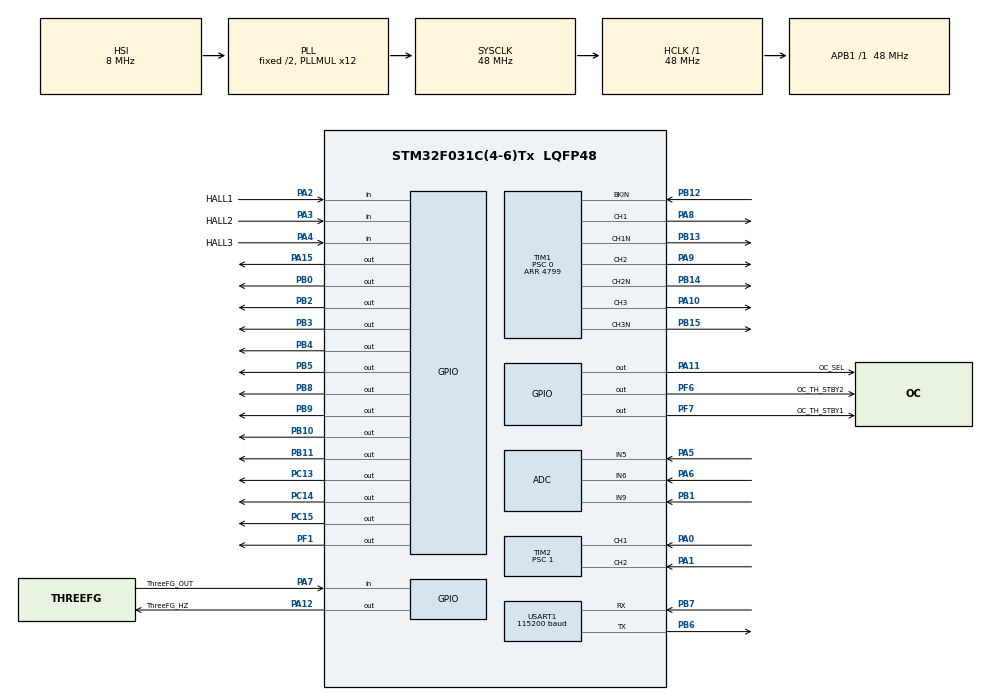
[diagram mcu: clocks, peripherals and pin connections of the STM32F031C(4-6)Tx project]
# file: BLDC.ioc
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ADC.ContinuousConvMode=ENABLE
ADC.DMAContinuousRequests=DISABLE
ADC.DiscontinuousConvMode=DISABLE
ADC.ExternalTrigConv=ADC_EXTERNALTRIGCONV_T1_TRGO
ADC.ExternalTrigConvEdge=ADC_EXTERNALTRIGCONVEDGE_FALLING
ADC.SamplingTime=ADC_SAMPLETIME_41CYCLES_5
Dma.ADC.1.Direction=DMA_PERIPH_TO_MEMORY
Dma.ADC.1.Instance=DMA1_Channel1
Dma.ADC.1.MemDataAlignment=DMA_MDATAALIGN_HALFWORD
Dma.ADC.1.MemInc=DMA_MINC_ENABLE
Dma.ADC.1.Mode=DMA_CIRCULAR
Dma.ADC.1.PeriphDataAlignment=DMA_PDATAALIGN_HALFWORD
Dma.ADC.1.PeriphInc=DMA_PINC_DISABLE
Dma.ADC.1.Priority=DMA_PRIORITY_LOW
Dma.Request0=USART1_TX
Dma.Request1=ADC
Dma.USART1_TX.0.Direction=DMA_MEMORY_TO_PERIPH
Dma.USART1_TX.0.Instance=DMA1_Channel2
Dma.USART1_TX.0.MemDataAlignment=DMA_MDATAALIGN_BYTE
Dma.USART1_TX.0.MemInc=DMA_MINC_ENABLE
Dma.USART1_TX.0.Mode=DMA_NORMAL
Dma.USART1_TX.0.PeriphDataAlignment=DMA_PDATAALIGN_BYTE
Dma.USART1_TX.0.PeriphInc=DMA_PINC_DISABLE
Dma.USART1_TX.0.Priority=DMA_PRIORITY_MEDIUM
Mcu.Family=STM32F0
Mcu.Name=STM32F031C(4-6)Tx
Mcu.Package=LQFP48
NVIC.DMA1_Channel1_IRQn=true\:0\:0\:false\:false\:true\:false\:true
NVIC.DMA1_Channel2_3_IRQn=true\:0\:0\:false\:false\:true\:false\:true
NVIC.TIM14_IRQn=true\:0\:0\:false\:false\:true\:true\:true
NVIC.TIM16_IRQn=true\:0\:0\:false\:false\:true\:true\:true
NVIC.TIM1_BRK_UP_TRG_COM_IRQn=true\:0\:0\:false\:false\:true\:true\:true
NVIC.TIM1_CC_IRQn=true\:0\:0\:false\:false\:true\:true\:true
NVIC.USART1_IRQn=true\:0\:0\:false\:false\:true\:true\:true
PA0.Signal=S_TIM2_CH1_ETR
PA1.Signal=S_TIM2_CH2
PA10.Signal=S_TIM1_CH3
PA11.GPIO_Label=OC_SEL
PA11.Signal=GPIO_Output
PA12.GPIO_Label=ThreeFG_HZ
PA12.Signal=GPIO_Output
PA13.Mode=Serial_Wire
PA13.Signal=SYS_SWDIO
PA14.Mode=Serial_Wire
PA14.Signal=SYS_SWCLK
PA15.Signal=GPIO_Output
PA2.GPIO_Label=HALL1
PA2.Signal=GPIO_Input
PA3.GPIO_Label=HALL2
PA3.Signal=GPIO_Input
PA4.GPIO_Label=HALL3
PA4.Signal=GPIO_Input
PA5.Mode=IN5
PA5.Signal=ADC_IN5
PA6.Mode=IN6
PA6.Signal=ADC_IN6
PA7.GPIO_Label=ThreeFG_OUT
PA7.Signal=GPIO_Input
PA8.Signal=S_TIM1_CH1
PA9.Signal=S_TIM1_CH2
PB0.Signal=GPIO_Output
PB1.Mode=IN9
PB1.Signal=ADC_IN9
PB10.Signal=GPIO_Output
PB11.Signal=GPIO_Output
PB12.Mode=Activate-Break-Input
PB12.Signal=TIM1_BKIN
PB13.Mode=PWM Generation1 CH1 CH1N
PB13.Signal=TIM1_CH1N
PB14.Mode=PWM Generation2 CH2 CH2N
PB14.Signal=TIM1_CH2N
PB15.Mode=PWM Generation3 CH3 CH3N
PB15.Signal=TIM1_CH3N
PB2.Signal=GPIO_Output
PB3.Signal=GPIO_Output
PB4.Signal=GPIO_Output
PB5.Signal=GPIO_Output
PB6.Mode=Asynchronous
PB6.Signal=USART1_TX
PB7.Mode=Asynchronous
PB7.Signal=USART1_RX
PB8.Signal=GPIO_Output
PB9.Signal=GPIO_Output
PC13.Signal=GPIO_Output
PC14-OSC32_IN.Signal=GPIO_Output
PC15-OSC32_OUT.Signal=GPIO_Output
PF0-OSC_IN.Mode=HSE-External-Clock-Source
PF0-OSC_IN.Signal=RCC_OSC_IN
PF1-OSC_OUT.Signal=GPIO_Output
PF6.GPIO_Label=OC_TH_STBY2
PF6.Signal=GPIO_Output
PF7.GPIO_Label=OC_TH_STBY1
PF7.Signal=GPIO_Output
ProjectManager.HeapSize=0x200
ProjectManager.StackSize=0x400
ProjectManager.TargetToolchain=STM32CubeIDE
RCC.AHBFreq_Value=48000000
RCC.APB1Freq_Value=48000000
RCC.APB1TimFreq_Value=48000000
RCC.HCLKFreq_Value=48000000
RCC.PLLMUL=RCC_PLL_MUL12
RCC.SYSCLKFreq_VALUE=48000000
RCC.SYSCLKSource=RCC_SYSCLKSOURCE_PLLCLK
SH.S_TIM1_CH1.0=TIM1_CH1,PWM Generation1 CH1 CH1N
SH.S_TIM1_CH2.0=TIM1_CH2,PWM Generation2 CH2 CH2N
SH.S_TIM1_CH3.0=TIM1_CH3,PWM Generation3 CH3 CH3N
SH.S_TIM2_CH1_ETR.0=TIM2_CH1,Encoder_Interface
SH.S_TIM2_CH2.0=TIM2_CH2,Encoder_Interface
TIM1.AutoReloadPreload=TIM_AUTORELOAD_PRELOAD_ENABLE
TIM1.BreakState=TIM_BREAK_DISABLE
TIM1.Channel-PWM\ Generation1\ CH1\ CH1N=TIM_CHANNEL_1
TIM1.Channel-PWM\ Generation2\ CH2\ CH2N=TIM_CHANNEL_2
TIM1.Channel-PWM\ Generation3\ CH3\ CH3N=TIM_CHANNEL_3
TIM1.CounterMode=TIM_COUNTERMODE_CENTERALIGNED1
TIM1.DeadTime=100
TIM1.OCMode_PWM-PWM\ Generation1\ CH1\ CH1N=TIM_OCMODE_PWM2
TIM1.OCMode_PWM-PWM\ Generation2\ CH2\ CH2N=TIM_OCMODE_PWM2
TIM1.OCMode_PWM-PWM\ Generation3\ CH3\ CH3N=TIM_OCMODE_PWM2
TIM1.Period=4799
TIM1.Prescaler=0
TIM1.TIM_MasterOutputTrigger=TIM_TRGO_UPDATE
TIM1.TIM_MasterSlaveMode=TIM_MASTERSLAVEMODE_DISABLE
TIM14.Period=4799
TIM14.Prescaler=9
TIM16.Period=47999
TIM16.Prescaler=9
TIM2.Period=65535
TIM2.Prescaler=1
USART1.BaudRate=115200
USART1.VirtualMode-Asynchronous=VM_ASYNC
VP_TIM14_VS_ClockSourceINT.Mode=Enable_Timer
VP_TIM16_VS_ClockSourceINT.Mode=Enable_Timer
VP_TIM1_VS_ClockSourceINT.Mode=Internal
board=custom

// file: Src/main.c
/* USER CODE BEGIN Header */
/**
  ******************************************************************************
  * @file           : main.c
  * @brief          : Main program body
  ******************************************************************************
  * @attention
  *
  * <h2><center>&copy; Copyright (c) 2019 STMicroelectronics.
  * All rights reserved.</center></h2>
  *
  * This software component is licensed by ST under BSD 3-Clause license,
  * the "License"; You may not use this file except in compliance with the
  * License. You may obtain a copy of the License at:
  *                        opensource.org/licenses/BSD-3-Clause
  *
  ******************************************************************************
  */
/* USER CODE END Header */

#include "main.h"
#include "adc.h"
#include "dma.h"
#include "tim.h"
#include "usart.h"
#include "gpio.h"

/* USER CODE BEGIN Includes */
#include "my_val.h"
/* USER CODE END Includes */

/* USER CODE BEGIN PTD */
ADC_ChannelConfTypeDef adc_sConfig;

/* USER CODE END PTD */

void SystemClock_Config(void);

/* USER CODE BEGIN 0 */

#define init_v (0)
#define init_f (1)
#define init_dir (1)

int conf_dir(int _dir,int set){
	static int dir=1;
	if(set==1)dir=_dir;

	return dir;
}

int conf_v(int _v,int set){
	static int v=init_v;
	if(set==1)v=_v;

	return v;
}
int conf_f(int _f,int set){
	static int f=init_f;
	if(set==1)f=_f;

	return f;
}

char UART1_Data;

void HAL_UART_RxCpltCallback(UART_HandleTypeDef *UartHandle)
{
	static int v=init_v;
	static int f=init_f;
	static int dir=init_dir;
     if(UartHandle->Instance==USART1){
          HAL_UART_Receive_IT(&huart1, (uint8_t*) &UART1_Data, 1);
          switch(UART1_Data){
          case 'e':
        	  if(f<50)f+=1;
        	  conf_f(f,1);
        	  break;
          case 'c':
        	  if(f>-50)f-=1;
        	  else v=0;
        	  conf_f(f,1);
        	  break;
          case 'd':
        	  f=init_f;
        	  conf_f(f,1);
        	  break;
          case 'q':
        	  if(v<4000)v+=2;
        	  conf_v(v,1);
        	  break;
          case 'z':
        	  if(v>-4000)v-=2;
        	  else v=0;
        	  conf_v(v,1);
        	  break;
          case 'w':
        	  if(v<4000)v+=10;
        	  conf_v(v,1);
        	  break;
          case 'x':
        	  if(v>-4000)v-=10;
        	  else v=0;
        	  conf_v(v,1);
        	  break;
          case 'a':
        	  v=0;
        	  conf_v(v,1);
        	  break;
          case 'r':
        	  dir=1;
        	  conf_dir(dir,1);
        	  break;
          case 'v':
        	  dir=-1;
        	  conf_dir(dir,1);
        	  break;
          }
     }
}

//HAL_ADC_ConvHalfCpltCallback(ADC_HandleTypeDef* hadc){
//}

void pwm_setvalue(uint16_t value,uint8_t ch)//0<value<4799
{
    TIM_OC_InitTypeDef sConfigOC;

    sConfigOC.OCMode = TIM_OCMODE_PWM1;
    sConfigOC.Pulse = value;
    sConfigOC.OCPolarity = TIM_OCPOLARITY_HIGH;
    sConfigOC.OCNPolarity = TIM_OCNPOLARITY_HIGH;
    sConfigOC.OCFastMode = TIM_OCFAST_DISABLE;
    sConfigOC.OCIdleState = TIM_OCIDLESTATE_RESET;
    sConfigOC.OCNIdleState = TIM_OCNIDLESTATE_RESET;

    switch(ch){
    case 1:
    	HAL_TIM_PWM_ConfigChannel(&htim1, &sConfigOC, TIM_CHANNEL_1);
    	HAL_TIM_PWM_Start(&htim1, TIM_CHANNEL_1);
    	HAL_TIMEx_PWMN_Start(&htim1, TIM_CHANNEL_1);

    	break;
    case 2:
    	HAL_TIM_PWM_ConfigChannel(&htim1, &sConfigOC, TIM_CHANNEL_2);
    	HAL_TIM_PWM_Start(&htim1, TIM_CHANNEL_2);
    	HAL_TIMEx_PWMN_Start(&htim1, TIM_CHANNEL_2);
    	break;
    case 3:
    	HAL_TIM_PWM_ConfigChannel(&htim1, &sConfigOC, TIM_CHANNEL_3);
    	HAL_TIM_PWM_Start(&htim1, TIM_CHANNEL_3);
    	HAL_TIMEx_PWMN_Start(&htim1, TIM_CHANNEL_3);
    	break;
    default:
    	break;
    }
}

/* USER CODE END 0 */

int main(void)
{

  /* MCU Configuration--------------------------------------------------------*/

  /* Reset of all peripherals, Initializes the Flash interface and the Systick. */
  HAL_Init();

  /* Configure the system clock */
  SystemClock_Config();

  /* Initialize all configured peripherals */
  MX_GPIO_Init();
  MX_DMA_Init();
  MX_ADC_Init();
  MX_TIM1_Init();
  MX_TIM2_Init();
  MX_USART1_UART_Init();
  MX_TIM14_Init();
  MX_TIM16_Init();
  /* USER CODE BEGIN 2 */

  //  HAL_TIM_PWM_ConfigChannel(&htim1, &sConfigOC, TIM_CHANNEL_1);
    HAL_TIM_PWM_Start(&htim1, TIM_CHANNEL_1);
    HAL_TIMEx_PWMN_Start(&htim1, TIM_CHANNEL_1);

  //  HAL_TIM_PWM_ConfigChannel(&htim1, &sConfigOC, TIM_CHANNEL_2);
    HAL_TIM_PWM_Start(&htim1, TIM_CHANNEL_2);
    HAL_TIMEx_PWMN_Start(&htim1, TIM_CHANNEL_2);

  //  HAL_TIM_PWM_ConfigChannel(&htim1, &sConfigOC, TIM_CHANNEL_3);
    HAL_TIM_PWM_Start(&htim1, TIM_CHANNEL_3);
    HAL_TIMEx_PWMN_Start(&htim1, TIM_CHANNEL_3);

    HAL_TIM_Encoder_Start(&htim2,TIM_CHANNEL_ALL);

	HAL_TIM_Base_Start_IT(&htim1);
	HAL_TIM_Base_Start_IT(&htim14);
	HAL_TIM_Base_Start_IT(&htim16);

    HAL_UART_Receive_IT(&huart1, (uint8_t*) &UART1_Data, 1);

    HAL_ADC_Init(&hadc);
    HAL_ADCEx_Calibration_Start(&hadc);
    HAL_ADC_Start_DMA(&hadc,(uint32_t *)aADCxConvertedData,3);

  int neko=0;
  //OC protection selection
  HAL_GPIO_WritePin(OC_SEL_GPIO_Port, OC_SEL_Pin, GPIO_PIN_SET);
  //Enable OC th 250 mV
  HAL_GPIO_WritePin(OC_TH_STBY1_GPIO_Port, OC_TH_STBY1_Pin, GPIO_PIN_SET);
  HAL_GPIO_WritePin(OC_TH_STBY2_GPIO_Port, OC_TH_STBY2_Pin, GPIO_PIN_SET);
  /* USER CODE END 2 */

  /* Infinite loop */
  while (1)
  {

  }
}

void SystemClock_Config(void)
{
  RCC_OscInitTypeDef RCC_OscInitStruct = {0};
  RCC_ClkInitTypeDef RCC_ClkInitStruct = {0};
  RCC_PeriphCLKInitTypeDef PeriphClkInit = {0};

  /** Initializes the CPU, AHB and APB busses clocks
  */
  RCC_OscInitStruct.OscillatorType = RCC_OSCILLATORTYPE_HSI|RCC_OSCILLATORTYPE_HSI14;
  RCC_OscInitStruct.HSIState = RCC_HSI_ON;
  RCC_OscInitStruct.HSI14State = RCC_HSI14_ON;
  RCC_OscInitStruct.HSICalibrationValue = RCC_HSICALIBRATION_DEFAULT;
  RCC_OscInitStruct.HSI14CalibrationValue = 16;
  RCC_OscInitStruct.PLL.PLLState = RCC_PLL_ON;
  RCC_OscInitStruct.PLL.PLLSource = RCC_PLLSOURCE_HSI;
  RCC_OscInitStruct.PLL.PLLMUL = RCC_PLL_MUL12;
  RCC_OscInitStruct.PLL.PREDIV = RCC_PREDIV_DIV1;
  if (HAL_RCC_OscConfig(&RCC_OscInitStruct) != HAL_OK)
  {
    Error_Handler();
  }
  /** Initializes the CPU, AHB and APB busses clocks
  */
  RCC_ClkInitStruct.ClockType = RCC_CLOCKTYPE_HCLK|RCC_CLOCKTYPE_SYSCLK
                              |RCC_CLOCKTYPE_PCLK1;
  RCC_ClkInitStruct.SYSCLKSource = RCC_SYSCLKSOURCE_PLLCLK;
  RCC_ClkInitStruct.AHBCLKDivider = RCC_SYSCLK_DIV1;
  RCC_ClkInitStruct.APB1CLKDivider = RCC_HCLK_DIV1;

  if (HAL_RCC_ClockConfig(&RCC_ClkInitStruct, FLASH_LATENCY_1) != HAL_OK)
  {
    Error_Handler();
  }
  PeriphClkInit.PeriphClockSelection = RCC_PERIPHCLK_USART1;
  PeriphClkInit.Usart1ClockSelection = RCC_USART1CLKSOURCE_PCLK1;
  if (HAL_RCCEx_PeriphCLKConfig(&PeriphClkInit) != HAL_OK)
  {
    Error_Handler();
  }
}

void Error_Handler(void)
{
}

/************************ (C) COPYRIGHT STMicroelectronics *****END OF FILE****/
